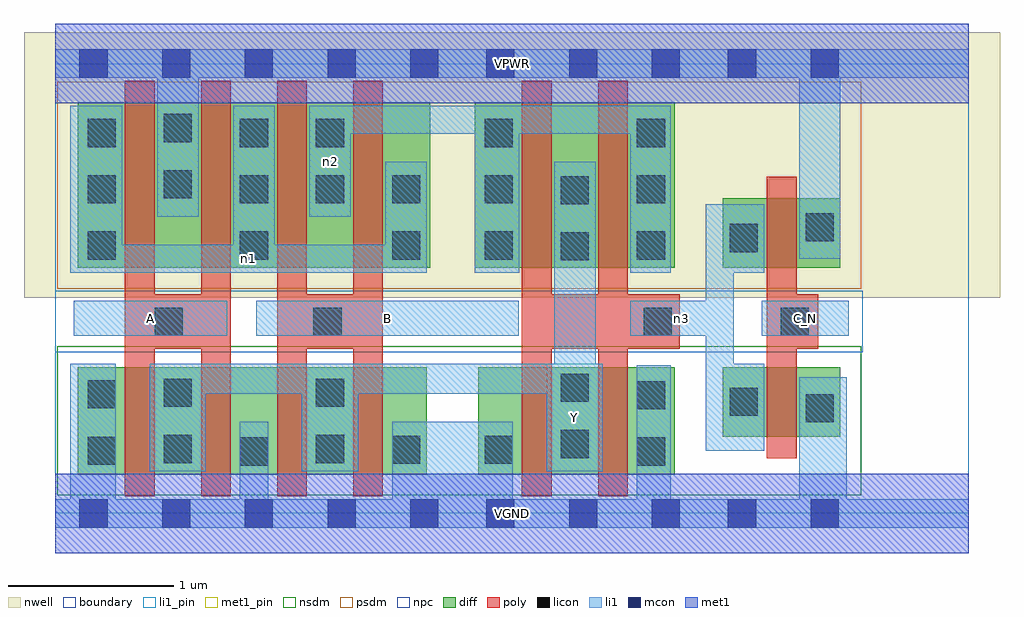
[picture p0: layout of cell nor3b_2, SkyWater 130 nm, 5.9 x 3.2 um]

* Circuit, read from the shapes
.subckt nor3b_2 A B C_N VGND VPWR Y n1 n2 n3
XM1 Y A VGND VSUBS sky130_fd_pr__nfet_01v8 w=0.65 l=0.18 m=2
XM2 Y B VGND VSUBS sky130_fd_pr__nfet_01v8 w=0.65 l=0.18 m=2
XM3 Y n3 VGND VSUBS sky130_fd_pr__nfet_01v8 w=0.65 l=0.18 m=2
XM4 VGND C_N n3 VSUBS sky130_fd_pr__nfet_01v8 w=0.42 l=0.18
XM5 VPWR A n1 n4 sky130_fd_pr__pfet_01v8 w=1 l=0.18 m=2
XM6 n2 B n1 n4 sky130_fd_pr__pfet_01v8 w=1 l=0.18 m=2
XM7 Y n3 n2 n4 sky130_fd_pr__pfet_01v8 w=1 l=0.18 m=2
XM8 VPWR C_N n3 n4 sky130_fd_pr__pfet_01v8 w=0.42 l=0.18
.ends

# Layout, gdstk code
import gdstk
lib = gdstk.Library(unit=1e-6, precision=1e-09)
def R(c, l, rs):  # rectangles x0, y0, x1, y1
    for r in rs: c.add(gdstk.rectangle(r[:2], r[2:], *l))
def A(c, l, x, y, w, h, nx, ny, dx, dy):  # array of equal rectangles
    R(c, l, [(x+i*dx, y+j*dy, x+i*dx+w, y+j*dy+h) for i in range(nx) for j in range(ny)])
nwell = (64, 20)
diff = (65, 20)
poly = (66, 20)
licon = (66, 44)
li1_pin = (67, 16)
li1 = (67, 20)
mcon = (67, 44)
met1_pin = (68, 16)
met1 = (68, 20)
nsdm = (93, 44)
psdm = (94, 20)
npc = (95, 20)
boundary = (235, 4)

nor3b_2 = lib.new_cell('nor3b_2')
R(nor3b_2, nwell, [(-0.19,1.305,5.71,2.91), (0,1.305,5.52,2.91)])
R(nor3b_2, diff, [(0.135,0.235,2.245,0.885), (2.555,0.235,3.745,0.885), (4.035,0.465,4.745,0.885), (0.135,1.485,2.265,2.485), (2.535,1.485,3.745,2.485), (4.035,1.485,4.745,1.905)])
A(nor3b_2, poly, 0.42, 0.105, 0.18, 2.51, 4, 1, 0.46, 0)
R(nor3b_2, poly, [(2.82,0.105,3,2.615), (3.28,0.105,3.46,2.615), (4.3,0.335,4.48,2.035), (0.42,0.995,1.06,1.325), (1.34,0.995,1.98,1.325), (2.82,0.995,3.775,1.325), (4.3,0.995,4.61,1.325)])
A(nor3b_2, licon, 0.195, 1.535, 0.17, 0.17, 3, 1, 0.92, 0)
A(nor3b_2, licon, 2.595, 1.535, 0.17, 0.17, 1, 3, 0, 0.34)
A(nor3b_2, licon, 3.515, 1.535, 0.17, 0.17, 1, 3, 0, 0.34)
A(nor3b_2, licon, 1.115, 1.875, 0.17, 0.17, 3, 1, 0.46, 0)
R(nor3b_2, licon, [(1.115,0.29,1.285,0.46), (3.515,0.29,3.685,0.46), (0.195,0.295,0.365,0.465), (2.035,0.3,2.205,0.47), (2.595,0.3,2.765,0.47), (0.655,0.305,0.825,0.475), (1.575,0.305,1.745,0.475), (3.055,0.335,3.225,0.505), (4.535,0.55,4.705,0.72), (4.075,0.59,4.245,0.76), (3.515,0.63,3.685,0.8), (0.195,0.635,0.365,0.805), (0.655,0.645,0.825,0.815), (1.575,0.645,1.745,0.815), (3.055,0.675,3.225,0.845), (0.6,1.075,0.77,1.245), (1.56,1.075,1.73,1.245), (3.555,1.075,3.725,1.245), (4.385,1.075,4.555,1.245), (3.055,1.53,3.225,1.7), (4.075,1.58,4.245,1.75), (4.535,1.645,4.705,1.815), (3.055,1.87,3.225,2.04), (0.195,1.875,0.365,2.045), (0.655,1.905,0.825,2.075), (0.195,2.215,0.365,2.385), (1.115,2.215,1.285,2.385), (1.575,2.215,1.745,2.385), (0.655,2.245,0.825,2.415)])
R(nor3b_2, li1_pin, [(2.97,0.255,3.31,0.905), (0.11,1.075,1.04,1.285), (1.215,1.075,2.8,1.285), (4.27,1.075,4.795,1.285)])
R(nor3b_2, li1, [(0,-0.085,5.52,0.085), (0.09,-0.085,0.365,0.905), (1.115,-0.085,1.285,0.555), (2.035,-0.085,2.765,0.555), (3.515,-0.085,3.72,0.895), (4.495,-0.085,4.785,0.825), (0.57,0.255,0.91,0.905), (1.49,0.255,1.83,0.905), (2.97,0.255,3.31,0.905), (3.015,0.255,3.265,2.125), (3.93,0.38,4.1,1.87), (3.93,0.38,4.285,0.905), (0.57,0.725,3.31,0.905), (0.11,1.075,1.04,1.285), (1.215,1.075,2.8,1.285), (3.475,1.075,4.1,1.285), (4.27,1.075,4.795,1.285), (0.09,1.455,2.245,1.625), (0.09,1.455,0.405,2.465), (1.075,1.455,1.325,2.465), (1.995,1.455,2.245,2.125), (2.535,1.455,2.805,2.465), (3.475,1.455,3.72,2.465), (3.93,1.455,4.285,1.87), (4.495,1.54,4.745,2.805), (0.615,1.795,0.865,2.805), (1.535,1.795,1.785,2.465), (1.535,2.295,3.72,2.465), (0,2.635,5.52,2.805)])
A(nor3b_2, mcon, 0.145, -0.085, 0.17, 0.17, 5, 2, 0.5, 2.72)
A(nor3b_2, mcon, 2.605, -0.085, 0.17, 0.17, 3, 2, 0.5, 2.72)
R(nor3b_2, mcon, [(4.065,-0.085,4.235,0.085), (4.565,-0.085,4.735,0.085), (4.065,2.635,4.235,2.805), (4.565,2.635,4.735,2.805)])
R(nor3b_2, met1_pin, [(0,-0.24,5.52,0.24), (0,2.48,5.52,2.96)])
R(nor3b_2, met1, [(0,-0.24,5.52,0.24), (0,2.48,5.52,2.96)])
R(nor3b_2, nsdm, [(0.01,0.11,4.87,1.01)])
R(nor3b_2, psdm, [(0.01,1.36,4.87,2.61)])
R(nor3b_2, npc, [(0,0.975,4.88,1.345)])
R(nor3b_2, boundary, [(0,0,5.52,2.72)])
nor3b_2.add(gdstk.Label('A', (0.575,1.18), layer=67, texttype=5))
nor3b_2.add(gdstk.Label('B', (2.007,1.18), layer=67, texttype=5))
nor3b_2.add(gdstk.Label('C_N', (4.532,1.18), layer=67, texttype=5))
nor3b_2.add(gdstk.Label('Y', (3.14,0.58), layer=67, texttype=5))
nor3b_2.add(gdstk.Label('n3', (3.787,1.18), layer=67, texttype=5))
nor3b_2.add(gdstk.Label('n1', (1.167,1.54), layer=67, texttype=5))
nor3b_2.add(gdstk.Label('n2', (1.66,2.13), layer=67, texttype=5))
nor3b_2.add(gdstk.Label('VPWR', (2.76,2.72), layer=68, texttype=5))
nor3b_2.add(gdstk.Label('VGND', (2.76,0), layer=68, texttype=5))
nor3b_2.add(gdstk.Label('A', (0.575,1.18), layer=67, texttype=16))
nor3b_2.add(gdstk.Label('B', (2.007,1.18), layer=67, texttype=16))
nor3b_2.add(gdstk.Label('C_N', (4.532,1.18), layer=67, texttype=16))
nor3b_2.add(gdstk.Label('Y', (3.14,0.58), layer=67, texttype=16))
nor3b_2.add(gdstk.Label('VPWR', (2.76,2.72), layer=68, texttype=16))
nor3b_2.add(gdstk.Label('VGND', (2.76,0), layer=68, texttype=16))

lib.write_gds('nor3b_2.gds')
